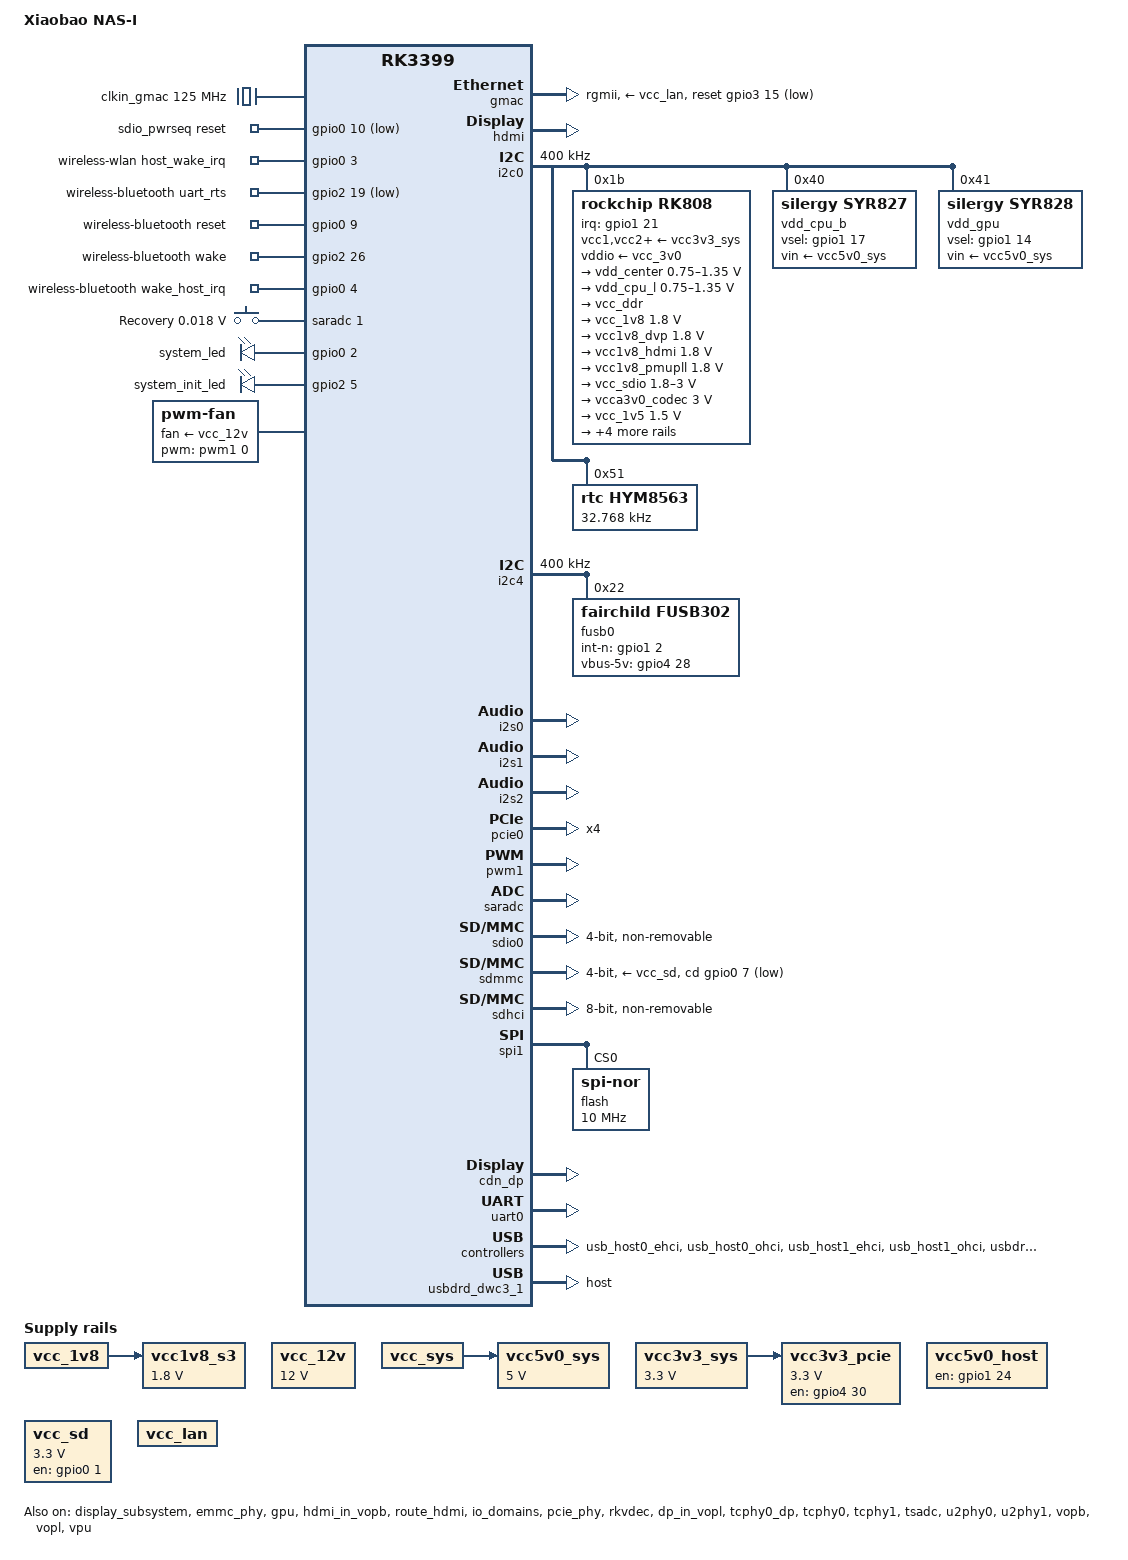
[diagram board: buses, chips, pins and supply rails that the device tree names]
// SPDX-License-Identifier: (GPL-2.0+ OR MIT)

/dts-v1/;
#include "dt-bindings/pwm/pwm.h"
#include <dt-bindings/soc/rockchip-io-domain.h>
#include "rk3399.dtsi"
#include "rk3399-opp.dtsi"
#include "rk3399-linux.dtsi"
#include <dt-bindings/input/input.h>

/ {
    model = "Xiaobao NAS-I";
	compatible = "Codinge,XiaobaoNASI", "rockchip,rk3399";

	aliases {
		mmc0 = &sdmmc;
		mmc1 = &sdhci;
		mmc2 = &sdio0;
	};

	chosen {
		stdout-path = "serial2:1500000n8";
	};

	clkin_gmac: external-gmac-clock {
		compatible = "fixed-clock";
		clock-frequency = <125000000>;
		clock-output-names = "clkin_gmac";
		#clock-cells = <0>;
	};

	sdio_pwrseq: sdio-pwrseq {
		compatible = "mmc-pwrseq-simple";
		clocks = <&rk808 1>;
		clock-names = "ext_clock";
		pinctrl-names = "default";
		pinctrl-0 = <&wifi_enable_h>;
		reset-gpios = <&gpio0 10 GPIO_ACTIVE_LOW>;
	};

	vcc_12v: vcc-12v {
		compatible = "regulator-fixed";
		regulator-name = "vcc_12v";
		regulator-always-on;
		regulator-min-microvolt = <12000000>;
		regulator-max-microvolt = <12000000>;
	};

	vcc_sys: vcc-sys {
		compatible = "regulator-fixed";
		regulator-name = "vcc_sys";
		regulator-always-on;
		regulator-boot-on;
	};

	vcc5v0_sys: vcc5v0-sys {
		compatible = "regulator-fixed";
		regulator-name = "vcc5v0_sys";
		regulator-always-on;
		regulator-min-microvolt = <5000000>;
		regulator-max-microvolt = <5000000>;
		vin-supply = <&vcc_sys>;
	};

	vcc1v8_s3: vcc1v8-s3 {
		compatible = "regulator-fixed";
		regulator-name = "vcc1v8_s3";
		regulator-always-on;
		regulator-min-microvolt = <1800000>;
		regulator-max-microvolt = <1800000>;
		vin-supply = <&vcc_1v8>;
	};

	vcc3v3_sys: vcc3v3-sys {
		compatible = "regulator-fixed";
		regulator-name = "vcc3v3_sys";
		regulator-always-on;
		regulator-min-microvolt = <3300000>;
		regulator-max-microvolt = <3300000>;
	};

	vcc5v0_host: vcc5v0-host-regulator {
		compatible = "regulator-fixed";
		enable-active-high;
		gpio = <&gpio1 24 GPIO_ACTIVE_HIGH>;
		pinctrl-names = "default";
		pinctrl-0 = <&vcc5v0_host_en>;
		regulator-name = "vcc5v0_host";
	};

	vcc_sd: vcc-sd {
		compatible = "regulator-fixed";
		regulator-name = "vcc_sd";
		enable-active-high;
		gpio = <&gpio0 1 GPIO_ACTIVE_HIGH>;
		pinctrl-names = "default";
		pinctrl-0 = <&vcc_sd_h>;
		regulator-min-microvolt = <3300000>;
		regulator-max-microvolt = <3300000>;
	};

	vcc3v3_pcie: vcc3v3-pcie-regulator {
		compatible = "regulator-fixed";
		regulator-name = "vcc3v3_pcie";
		enable-active-high;
		gpio = <&gpio4 30 GPIO_ACTIVE_HIGH>;
		pinctrl-names = "default";
		pinctrl-0 = <&pcie_pwr_en>;
		regulator-always-on;
		regulator-boot-on;
		regulator-min-microvolt = <3300000>;
		regulator-max-microvolt = <3300000>;
		vin-supply = <&vcc3v3_sys>;
	};

	vcc_lan: vcc3v3-phy-regulator {
		compatible = "regulator-fixed";
		regulator-name = "vcc_lan";
		regulator-always-on;
		regulator-boot-on;
	};

    hdmi_sound: hdmi-sound {
		status = "okay";
		compatible = "simple-audio-card";
		simple-audio-card,format = "i2s";
		simple-audio-card,mclk-fs = <256>;
		simple-audio-card,name = "rockchip,hdmi";

		simple-audio-card,cpu {
			sound-dai = <&i2s2>;
		};
		simple-audio-card,codec {
			sound-dai = <&hdmi>;
		};
	};

	dw_hdmi_audio: dw-hdmi-audio {
		status = "okay";
		compatible = "rockchip,dw-hdmi-audio";
		#sound-dai-cells = <0>;
	};

	wireless-wlan {
		compatible = "wlan-platdata";
		rockchip,grf = <&grf>;
		wifi_chip_type = "ap6354";
		sdio_vref = <1800>;
		WIFI,host_wake_irq = <&gpio0 3 GPIO_ACTIVE_HIGH>; /* GPIO0_a3 */
		status = "okay";
	};

	wireless-bluetooth {
		compatible = "bluetooth-platdata";
		//wifi-bt-power-toggle;
		uart_rts_gpios = <&gpio2 19 GPIO_ACTIVE_LOW>; /* GPIO2_C3 */
		pinctrl-names = "default", "rts_gpio";
		pinctrl-0 = <&uart0_rts>;
		pinctrl-1 = <&uart0_gpios>;
		//BT,power_gpio  = <&gpio3 19 GPIO_ACTIVE_HIGH>; /* GPIOx_xx */
		BT,reset_gpio    = <&gpio0 9 GPIO_ACTIVE_HIGH>; /* GPIO0_B1 */
		BT,wake_gpio     = <&gpio2 26 GPIO_ACTIVE_HIGH>; /* GPIO2_D2 */
		BT,wake_host_irq = <&gpio0 4 GPIO_ACTIVE_HIGH>; /* GPIO0_A4 */
		status = "okay";
	};

	adc-keys {
		compatible = "adc-keys";
		io-channels = <&saradc 1>;
		io-channel-names = "buttons";
		keyup-threshold-microvolt = <1800000>;
		poll-interval = <100>;

		recovery {
			label = "Recovery";
			linux,code = <0x168>;
			press-threshold-microvolt = <18000>;
		};
	};

	gpio-leds {
		compatible = "gpio-leds";
		pinctrl-names = "default";
		pinctrl-0 = <&leds_pins>;

		system-led@1 {
			gpios = <&gpio0 2 GPIO_ACTIVE_HIGH>;
			label = "system_led";
			retain-state-suspended;
			default-state = "on";
		};

		system-init-led@2 {
			gpios = <&gpio2 5 GPIO_ACTIVE_HIGH>;
			label = "system_init_led";
			retain-state-suspended;
			default-state = "off";
		};
	};

	pwm-fan {
		compatible = "pwm-fan";
		cooling-levels = <0 13 18 255>;
		#cooling-cells = <2>;
		fan-supply = <&vcc_12v>;
		pwms = <&pwm1 0 50000 0>;
	};

	test-power {
		status = "okay";
	};
};

&cpu_l0 {
	cpu-supply = <&vdd_cpu_l>;
};

&cpu_l1 {
	cpu-supply = <&vdd_cpu_l>;
};

&cpu_l2 {
	cpu-supply = <&vdd_cpu_l>;
};

&cpu_l3 {
	cpu-supply = <&vdd_cpu_l>;
};

&cpu_b0 {
	cpu-supply = <&vdd_cpu_b>;
};

&cpu_b1 {
	cpu-supply = <&vdd_cpu_b>;
};

&display_subsystem {
	status = "okay";
};

&emmc_phy {
	status = "okay";
};

&gmac {
	assigned-clocks = <&cru SCLK_RMII_SRC>;
	assigned-clock-parents = <&clkin_gmac>;
	clock_in_out = "input";
	phy-supply = <&vcc_lan>;
	phy-mode = "rgmii";
	pinctrl-names = "default";
	pinctrl-0 = <&rgmii_pins>;
	snps,reset-gpio = <&gpio3 15 GPIO_ACTIVE_LOW>;
	snps,reset-active-low;
	snps,reset-delays-us = <0 10000 50000>;
	tx_delay = <0x28>;
	rx_delay = <0x11>;
	status = "okay";
};

&gpu {
	mali-supply = <&vdd_gpu>;
	status = "okay";
};

&hdmi {
	#address-cells = <1>;
	#size-cells = <0>;
	#sound-dai-cells = <0>;
	pinctrl-names = "default";
	pinctrl-0 = <&hdmi_i2c_xfer>, <&hdmi_cec>;
	status = "okay";
	rockchip,phy-table =
		<74250000 0x8009 0x0004 0x0272>,
		<165000000 0x802b 0x0004 0x0209>,
		<297000000 0x8039 0x0005 0x028d>,
		<594000000 0x8039 0x0000 0x019d>,
		<000000000 0x0000 0x0000 0x0000>;
};

&hdmi_in_vopb {
	status = "okay";
};

&hdmi_in_vopl {
	status = "disabled";
};

&route_hdmi {
	status = "okay";
	connect = <&vopb_out_hdmi>;
};

&i2c0 {
	clock-frequency = <400000>;
	i2c-scl-rising-time-ns = <168>;
	i2c-scl-falling-time-ns = <4>;
	status = "okay";

	rk808: pmic@1b {
		compatible = "rockchip,rk808";
		reg = <0x1b>;
		interrupt-parent = <&gpio1>;
		interrupts = <21 IRQ_TYPE_LEVEL_LOW>;
		#clock-cells = <1>;
		clock-output-names = "xin32k", "rk808-clkout2";
		pinctrl-names = "default";
		pinctrl-0 = <&pmic_int_l>;
		rockchip,system-power-controller;
		wakeup-source;

		vcc1-supply = <&vcc3v3_sys>;
		vcc2-supply = <&vcc3v3_sys>;
		vcc3-supply = <&vcc3v3_sys>;
		vcc4-supply = <&vcc3v3_sys>;
		vcc6-supply = <&vcc3v3_sys>;
		vcc7-supply = <&vcc3v3_sys>;
		vcc8-supply = <&vcc3v3_sys>;
		vcc9-supply = <&vcc3v3_sys>;
		vcc10-supply = <&vcc3v3_sys>;
		vcc11-supply = <&vcc3v3_sys>;
		vcc12-supply = <&vcc3v3_sys>;
		vddio-supply = <&vcc_3v0>;

		regulators {
			vdd_center: DCDC_REG1 {
				regulator-name = "vdd_center";
				regulator-always-on;
				regulator-boot-on;
				regulator-min-microvolt = <750000>;
				regulator-max-microvolt = <1350000>;
				regulator-ramp-delay = <6001>;

				regulator-state-mem {
					regulator-off-in-suspend;
				};
			};

			vdd_cpu_l: DCDC_REG2 {
				regulator-name = "vdd_cpu_l";
				regulator-always-on;
				regulator-boot-on;
				regulator-min-microvolt = <750000>;
				regulator-max-microvolt = <1350000>;
				regulator-ramp-delay = <6001>;

				regulator-state-mem {
					regulator-off-in-suspend;
				};
			};

			vcc_ddr: DCDC_REG3 {
				regulator-name = "vcc_ddr";
				regulator-always-on;
				regulator-boot-on;

				regulator-state-mem {
					regulator-on-in-suspend;
				};
			};

			vcc_1v8: DCDC_REG4 {
				regulator-name = "vcc_1v8";
				regulator-always-on;
				regulator-boot-on;
				regulator-min-microvolt = <1800000>;
				regulator-max-microvolt = <1800000>;

				regulator-state-mem {
					regulator-on-in-suspend;
					regulator-suspend-microvolt = <1800000>;
				};
			};

			vcc1v8_dvp: LDO_REG1 {
				regulator-name = "vcc1v8_dvp";
				regulator-always-on;
				regulator-boot-on;
				regulator-min-microvolt = <1800000>;
				regulator-max-microvolt = <1800000>;

				regulator-state-mem {
					regulator-on-in-suspend;
					regulator-suspend-microvolt = <1800000>;
				};
			};

			vcc1v8_hdmi: LDO_REG2 {
				regulator-name = "vcc_avdd_1v8";
				regulator-always-on;
				regulator-boot-on;
				regulator-min-microvolt = <1800000>;
				regulator-max-microvolt = <1800000>;

				regulator-state-mem {
					regulator-on-in-suspend;
					regulator-suspend-microvolt = <1800000>;
				};
			};

			vcc1v8_pmupll: LDO_REG3 {
				regulator-name = "vcc1v8_pmupll";
				regulator-always-on;
				regulator-boot-on;
				regulator-min-microvolt = <1800000>;
				regulator-max-microvolt = <1800000>;

				regulator-state-mem {
					regulator-on-in-suspend;
					regulator-suspend-microvolt = <1800000>;
				};
			};

			vcc_sdio: LDO_REG4 {
				regulator-name = "vcc_sdio";
				regulator-always-on;
				regulator-boot-on;
				regulator-min-microvolt = <1800000>;
				regulator-max-microvolt = <3000000>;

				regulator-state-mem {
					regulator-on-in-suspend;
					regulator-suspend-microvolt = <3000000>;
				};
			};

			vcca3v0_codec: LDO_REG5 {
				regulator-name = "vcca3v0_codec";
				regulator-always-on;
				regulator-boot-on;
				regulator-min-microvolt = <3000000>;
				regulator-max-microvolt = <3000000>;

				regulator-state-mem {
					regulator-on-in-suspend;
					regulator-suspend-microvolt = <3000000>;
				};
			};

			vcc_1v5: LDO_REG6 {
				regulator-name = "vcc_1v5";
				regulator-always-on;
				regulator-boot-on;
				regulator-min-microvolt = <1500000>;
				regulator-max-microvolt = <1500000>;

				regulator-state-mem {
					regulator-on-in-suspend;
					regulator-suspend-microvolt = <1500000>;
				};
			};

			vcca1v8_codec: LDO_REG7 {
				regulator-name = "vcca1v8_codec";
				regulator-always-on;
				regulator-boot-on;
				regulator-min-microvolt = <1800000>;
				regulator-max-microvolt = <1800000>;

				regulator-state-mem {
					regulator-on-in-suspend;
					regulator-suspend-microvolt = <1800000>;
				};
			};

			vcc_3v0: LDO_REG8 {
				regulator-name = "vcc_3v0";
				regulator-always-on;
				regulator-boot-on;
				regulator-min-microvolt = <3000000>;
				regulator-max-microvolt = <3000000>;

				regulator-state-mem {
					regulator-on-in-suspend;
					regulator-suspend-microvolt = <3000000>;
				};
			};

			vcc3v3_s3: SWITCH_REG1 {
				regulator-name = "vcc3v3_s3";
				regulator-always-on;
				regulator-boot-on;

				regulator-state-mem {
					regulator-off-in-suspend;
				};
			};

			vcc3v3_s0: SWITCH_REG2 {
				regulator-name = "vcc3v3_s0";
				regulator-always-on;
				regulator-boot-on;

				regulator-state-mem {
					regulator-off-in-suspend;
				};
			};
		};
	};

	vdd_cpu_b: syr827@40 {
		compatible = "silergy,syr827";
		reg = <0x40>;
		fcs,suspend-voltage-selector = <1>;
		pinctrl-names = "default";
		pinctrl-0 = <&vsel1_pin>;
		regulator-compatible = "fan53555-reg";
		regulator-name = "vdd_cpu_b";
		regulator-min-microvolt = <712500>;
		regulator-max-microvolt = <1500000>;
		regulator-ramp-delay = <1000>;
		regulator-always-on;
		regulator-boot-on;
		regulator-initial-state = <3>;
		vsel-gpios = <&gpio1 17 GPIO_ACTIVE_HIGH>;
		vin-supply = <&vcc5v0_sys>;

		regulator-state-mem {
			regulator-off-in-suspend;
		};
	};

	vdd_gpu: syr828@41 {
		compatible = "silergy,syr828";
		reg = <0x41>;
		fcs,suspend-voltage-selector = <1>;
		pinctrl-names = "default";
		pinctrl-0 = <&vsel2_pin>;
		regulator-compatible = "fan53555-reg";
		regulator-name = "vdd_gpu";
		regulator-min-microvolt = <712500>;
		regulator-max-microvolt = <1500000>;
		regulator-ramp-delay = <1000>;
		regulator-always-on;
		regulator-boot-on;
		regulator-initial-state = <3>;
		vsel-gpios = <&gpio1 14 GPIO_ACTIVE_HIGH>;
		vin-supply = <&vcc5v0_sys>;

		regulator-state-mem {
			regulator-off-in-suspend;
		};
	};

	hym8563@51 {
		compatible = "rtc,hym8563";
		reg = <0x51>;
		#clock-cells = <0>;
		clock-frequency = <32768>;
		clock-output-names = "xin32k";
		status = "okay";
	};
};

&i2c4 {
	status = "okay";
	i2c-scl-falling-time-ns = <30>;
	i2c-scl-rising-time-ns = <160>;
	clock-frequency = <400000>;

	fusb0: fusb30x@22 {
		compatible = "fairchild,fusb302";
		reg = <0x22>;
		pinctrl-names = "default";
		pinctrl-0 = <&fusb0_int>;
		int-n-gpios = <&gpio1 2 GPIO_ACTIVE_HIGH>;
		vbus-5v-gpios = <&gpio4 28 GPIO_ACTIVE_HIGH>;
		status = "okay";
	};
};

&i2s0 {
	rockchip,capture-channels = <8>;
	rockchip,playback-channels = <8>;
	status = "okay";
};

&i2s1 {
	rockchip,capture-channels = <2>;
	rockchip,playback-channels = <2>;
	status = "okay";
};

&i2s2 {
	status = "okay";
};

&io_domains {
	status = "okay";

	bt656-supply = <&vcc_3v0>;
	audio-supply = <&vcca1v8_codec>;
	sdmmc-supply = <&vcc_sdio>;
	gpio1830-supply = <&vcc_3v0>;
};

&pcie_phy {
	status = "okay";
};

&pcie0 {
	ep-gpios = <&gpio1 13 GPIO_ACTIVE_HIGH>;
	num-lanes = <4>;
	pinctrl-names = "default";
	pinctrl-0 = <&pcie_clkreqnb_cpm &fn8274_en_h>;
	status = "okay";
};

&pmu_io_domains {
	status = "okay";

	pmu1830-supply = <&vcc_3v0>;
};

&pinctrl {
	pcie {
		fn8274_en_h: fn8274-en-h {
			rockchip,pins = <4 25 RK_FUNC_GPIO &pcfg_output_high>,
					<4 29 RK_FUNC_GPIO &pcfg_output_high>,
					<1 23 RK_FUNC_GPIO &pcfg_output_high>;
		};

		pcie_pwr_en: pcie-pwr-en {
			rockchip,pins = <4 30 RK_FUNC_GPIO &pcfg_pull_none>;
		};
	};

	pmic {
		pmic_int_l: pmic-int-l {
			rockchip,pins = <1 21 RK_FUNC_GPIO &pcfg_pull_up>;
		};

		vsel1_pin: vsel1-pin {
			rockchip,pins = <1 17 RK_FUNC_GPIO &pcfg_pull_down>;
		};

		vsel2_pin: vsel2-pin {
			rockchip,pins = <1 14 RK_FUNC_GPIO &pcfg_pull_down>;
		};
	};

	usb2 {
		vcc5v0_host_en: vcc5v0-host-en {
			rockchip,pins = <1 24 RK_FUNC_GPIO &pcfg_pull_none>;
		};
	};

	wireless-bluetooth {
		uart0_gpios: uart0-gpios {
			rockchip,pins = <2 19 RK_FUNC_GPIO &pcfg_pull_none>;
		};
	};

	vcc_sd {
		vcc_sd_h: vcc-sd-h {
			rockchip,pins = <0 1 RK_FUNC_GPIO &pcfg_pull_up>;
		};
	};

	fusb30x {
		fusb0_int: fusb0-int {
			rockchip,pins = <1 2 RK_FUNC_GPIO &pcfg_pull_up>;
		};
	};

	sdio-pwrseq {
		wifi_enable_h: wifi-enable-h {
			rockchip,pins = <0 10 RK_FUNC_GPIO &pcfg_pull_none>;
		};
	};

	leds {
		leds_pins: leds-pins {
			rockchip,pins = <0 2 RK_FUNC_GPIO &pcfg_pull_up>,
					<2 5 RK_FUNC_GPIO &pcfg_pull_up>;
		};
	};
};

&pwm1 {
	status = "okay";
};

&rkvdec {
	status = "okay";
};

&saradc {
	status = "okay";
};

&sdio0 {
	max-frequency = <50000000>;
	supports-sdio;
	bus-width = <4>;
	disable-wp;
	cap-sd-highspeed;
	keep-power-in-suspend;
	mmc-pwrseq = <&sdio_pwrseq>;
	non-removable;
	num-slots = <1>;
	pinctrl-names = "default";
	pinctrl-0 = <&sdio0_bus4 &sdio0_cmd &sdio0_clk>;
	sd-uhs-sdr104;
	status = "okay";
};

&sdmmc {
	supports-sd;
	bus-width = <4>;
	cap-mmc-highspeed;
	cap-sd-highspeed;
	cd-gpios = <&gpio0 7 GPIO_ACTIVE_LOW>;
	disable-wp;
	num-slots = <1>;
	max-frequency = <150000000>;
	pinctrl-names = "default";
	pinctrl-0 = <&sdmmc_clk &sdmmc_cd &sdmmc_cmd &sdmmc_bus4>;
	vmmc-supply = <&vcc_sd>;
	vqmmc-supply = <&vcc_sdio>;
	status = "okay";
};

&sdhci {
	bus-width = <8>;
	mmc-hs400-1_8v;
	mmc-hs400-enhanced-strobe;
	non-removable;
	status = "okay";
    supports-emmc;
};

&spi1 {
	status = "okay";

	flash@0 {
		compatible = "jedec,spi-nor";
		reg = <0x00>;
		spi-max-frequency = <10000000>;
	};
};

&dp_in_vopb {
	status = "disabled";
};

&dp_in_vopl {
	status = "okay";
};

&tcphy0_dp {
	status = "okay";
};

&tcphy0 {
	extcon = <&fusb0>;
	status = "okay";
};

&cdn_dp {
	status = "okay";
	extcon = <&fusb0>;
};

&tcphy1 {
	status = "okay";
};

&tsadc {
	status = "okay";

	/* tshut mode 0:CRU 1:GPIO */
	rockchip,hw-tshut-mode = <1>;
	/* tshut polarity 0:LOW 1:HIGH */
	rockchip,hw-tshut-polarity = <1>;
};

&u2phy0 {
	status = "okay";
	extcon = <&fusb0>;

	u2phy0_otg: otg-port {
		status = "okay";
	};

	u2phy0_host: host-port {
		phy-supply = <&vcc5v0_host>;
		status = "okay";
	};
};

&u2phy1 {
	status = "okay";

	u2phy1_otg: otg-port {
		status = "okay";
	};

	u2phy1_host: host-port {
		phy-supply = <&vcc5v0_host>;
		status = "okay";
	};
};

&uart0 {
	pinctrl-names = "default";
	pinctrl-0 = <&uart0_xfer &uart0_cts>;
	status = "okay";
};

&usb_host0_ehci {
	status = "okay";
};

&usb_host0_ohci {
	status = "okay";
};

&usb_host1_ehci {
	status = "okay";
};

&usb_host1_ohci {
	status = "okay";
};

&usbdrd3_0 {
	extcon = <&fusb0>;
	status = "okay";
};

&usbdrd_dwc3_0 {
	status = "okay";
};

&usbdrd3_1 {
	status = "okay";
};

&usbdrd_dwc3_1 {
	status = "okay";
	dr_mode = "host";
};

&vopb {
	status = "okay";
	assigned-clocks = <&cru DCLK_VOP0_DIV>;
	assigned-clock-parents = <&cru PLL_VPLL>;
};

&vopl {
	status = "okay";
	assigned-clocks = <&cru DCLK_VOP1_DIV>;
	assigned-clock-parents = <&cru PLL_CPLL>;
};
&vopb_mmu {
	status = "okay";
};

&vopl_mmu {
	status = "okay";
};

&vpu {
	status = "okay";
};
